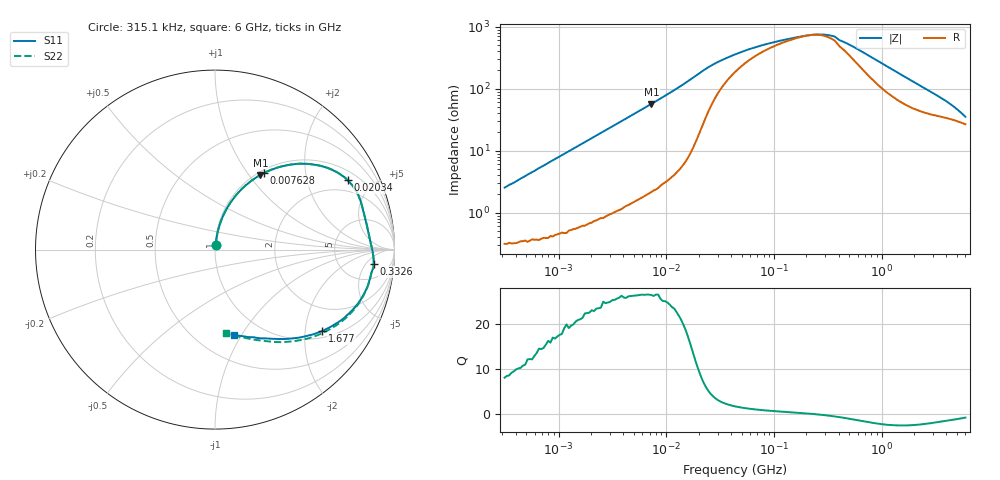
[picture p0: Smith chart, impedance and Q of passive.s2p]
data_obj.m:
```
%% RF Data Objects 
% The RF Toolbox has several built-in RFDATA objects for storing, processing,
% and visualizing different types of RF data. This demo first creates an
% RFDATA.DATA object by reading the S-parameters of a 2-port passive network
% stored in a Touchstone data file 'passive.s2p', and visualizes the original
% S-parameters by using the built-in visualization methods of the data object.
% Then, it calculates and visualizes the S-parameters over a new frequency
% range.

%   Copyright 2003-2004 The MathWorks, Inc.
%   $Revision: 1.1.6.11 $  $Date: 2004/04/12 23:39:18 $

%% Create an RFDATA.DATA object
% Create an RFDATA.DATA object, by reading a Touchstone data file
% 'passive.s2p', using READ method of RFDATA.DATA object. For more
% information on RFDATA objects, type: help rfdata
data = read(rfdata.data, 'passive.s2p');

%% View the properties and methods of the data object
% The data object has built-in properties and methods. You can use the data
% object's methods: GET and METHODS to view its properties and methods.
PropertiesOfData = get(data) 
MethodsOfData = methods(data);

%% Change the properties of the data object
% You can use the data object's SET method to change its properties.
DefaultZl = get(data, 'Zl')
set(data, 'Zl', 30+60i);
NewZl = get(data, 'Zl')

%% View the network parameters of the data object that can be visualized
% LISTPARAM lists all the network parameters of the data object that can be
% visualized. You can plot any of these parameters, by using the built-in
% visualization methods of the data object, in a variety of different formats. 
ParamsOfData = listparam(data)
FormatsOfS11 = listformat(data, 'S11')

%% Plot the original S11 and input reflection coefficient on a Z Smith chart
% Plot S11 and the input reflection coefficient on a Z Smith chart
smith(data, 'S11', 'GAMMAIN', 'z');
legend show;

%% Plot the original S21 on an X-Y plane
% Plot S21, in dB, on an X-Y plane
plot(data,  'S21', 'db');
legend show;

%% Analyze the data object over a new frequency range
% The original S-parameters are given over the frequency range: 315KHz -> 6GHz.
% If you want to see the S-parameters over a new frequency range, you need to
% analyze the data object first.
f = [1e9:1e8:3e9];
analyze(data, f);

%% Plot S11 and S22 over the new frequency range on a Y Smith chart
% Plot S11 and S22 on a Y Smith chart 
smith(data, 'S11', 'S22', 'y');
legend show;

%% Plot S21 over the new frequency range on a polar plane
% Plot S21 on a polar plane
polar(data, 's21');
legend show;
```
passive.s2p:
# Hz S DB R 50
! S-Parameters data
! FREQ  dbS11  angS11  dbS21  angS21  dbS12  angS12  dbS22  angS22
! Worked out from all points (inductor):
!   202 points, 315.1 kHz to 6 GHz, reference 50 ohm
!   read as one part in series: L = 1.26 uH near 330.9 kHz
!   highest Q = 26.5 at 7.263 MHz (marker M1), where L = 1.25 uH
!   self-resonance near 219.7 MHz
!   S11 on the Smith chart (normalised r, x): 315.1 kHz: 1.01, +0.05; 7.628 MHz: 1.05, +1.19; 20.34 MHz: 1.40, +3.56; 332.6 MHz: 11, -8; 1.677 GHz: 1.19, -2.46; 6 GHz: 0.75, -0.93
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315074.7  -32.01 81.2  -0.03 -1.5  -0.03 -1.4  -31.97 81.5
2594056  -14.08 76.2  -0.24 -11.4  -0.24 -11.4  -14.06 76.2
7263000  -6.26 58.7  -1.36 -29.1  -1.35 -29.0  -6.25 58.7
7627958  -5.94 57.5  -1.47 -30.3  -1.47 -30.2  -5.93 57.5
2.033541e7  -1.57 27.6  -6.59 -56.2  -6.60 -56.2  -1.56 27.6
4.455829e7  -1.36 11.2  -12.56 -46.6  -12.58 -46.7  -1.36 11.2
3.325905e8  -1.04 -5.2  -18.24 19.5  -18.25 19.6  -1.04 -5.4
8.442326e8  -1.39 -20.4  -11.34 43.7  -11.34 43.8  -1.39 -21.3
1.677078e9  -2.51 -37.3  -6.87 32.2  -6.88 32.2  -2.52 -39.2
3.17214e9  -4.33 -55.0  -4.54 11.5  -4.54 11.5  -4.40 -58.4
6e9  -6.25 -77.3  -3.33 -14.7  -3.34 -14.7  -6.55 -82.8
